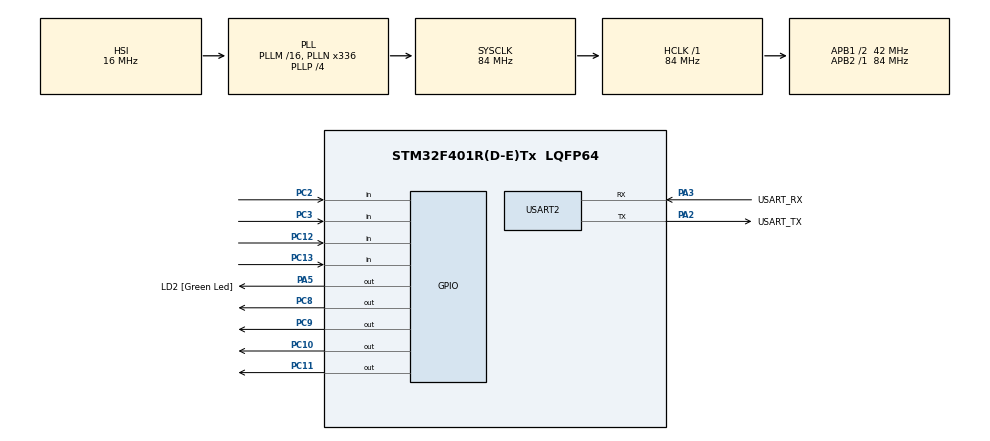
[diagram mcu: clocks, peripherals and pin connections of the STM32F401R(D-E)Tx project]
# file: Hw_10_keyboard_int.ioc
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Mcu.Family=STM32F4
Mcu.Name=STM32F401R(D-E)Tx
Mcu.Package=LQFP64
NVIC.PriorityGroup=NVIC_PRIORITYGROUP_0
NVIC.TIM1_UP_TIM10_IRQn=true\:0\:0\:false\:false\:true\:true\:true\:true
PA13.GPIO_Label=TMS
PA13.Mode=Serial_Wire
PA13.Signal=SYS_JTMS-SWDIO
PA14.GPIO_Label=TCK
PA14.Mode=Serial_Wire
PA14.Signal=SYS_JTCK-SWCLK
PA2.GPIO_Label=USART_TX
PA2.GPIO_Mode=GPIO_MODE_AF_PP
PA2.GPIO_PuPd=GPIO_NOPULL
PA2.GPIO_Speed=GPIO_SPEED_FREQ_LOW
PA2.Mode=Asynchronous
PA2.Signal=USART2_TX
PA3.GPIO_Label=USART_RX
PA3.GPIO_Mode=GPIO_MODE_AF_PP
PA3.GPIO_PuPd=GPIO_NOPULL
PA3.GPIO_Speed=GPIO_SPEED_FREQ_LOW
PA3.Mode=Asynchronous
PA3.Signal=USART2_RX
PA5.GPIO_Label=LD2 [Green Led]
PA5.GPIO_Mode=GPIO_MODE_OUTPUT_PP
PA5.GPIO_PuPd=GPIO_NOPULL
PA5.GPIO_Speed=GPIO_SPEED_FREQ_LOW
PA5.Signal=GPIO_Output
PB3.GPIO_Label=SWO
PB3.Signal=SYS_JTDO-SWO
PC10.Signal=GPIO_Output
PC11.Signal=GPIO_Output
PC12.Signal=GPIO_Input
PC13-ANTI_TAMP.Signal=GPIO_Input
PC14-OSC32_IN.Mode=LSE-External-Oscillator
PC14-OSC32_IN.Signal=RCC_OSC32_IN
PC15-OSC32_OUT.Mode=LSE-External-Oscillator
PC15-OSC32_OUT.Signal=RCC_OSC32_OUT
PC2.Signal=GPIO_Input
PC3.Signal=GPIO_Input
PC8.Signal=GPIO_Output
PC9.Signal=GPIO_Output
PH0\ -\ OSC_IN.Mode=HSE-External-Clock-Source
PH0\ -\ OSC_IN.Signal=RCC_OSC_IN
PH1\ -\ OSC_OUT.Mode=HSE-External-Clock-Source
PH1\ -\ OSC_OUT.Signal=RCC_OSC_OUT
ProjectManager.HeapSize=0x200
ProjectManager.StackSize=0x400
ProjectManager.TargetToolchain=STM32CubeIDE
RCC.48MHZClocksFreq_Value=48000000
RCC.AHBFreq_Value=84000000
RCC.APB1CLKDivider=RCC_HCLK_DIV2
RCC.APB1Freq_Value=42000000
RCC.APB1TimFreq_Value=84000000
RCC.APB2Freq_Value=84000000
RCC.APB2TimFreq_Value=84000000
RCC.CortexFreq_Value=84000000
RCC.HCLKFreq_Value=84000000
RCC.HSE_VALUE=8000000
RCC.HSI_VALUE=16000000
RCC.PLLN=336
RCC.PLLP=RCC_PLLP_DIV4
RCC.PLLQ=7
RCC.SYSCLKFreq_VALUE=84000000
RCC.SYSCLKSource=RCC_SYSCLKSOURCE_PLLCLK
RCC.VCOOutputFreq_Value=336000000
TIM10.Period=2000-1
TIM10.Prescaler=84-1
USART2.VirtualMode=VM_ASYNC
VP_TIM10_VS_ClockSourceINT.Mode=Enable_Timer
board=NUCLEO-F401RE

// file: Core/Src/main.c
/* USER CODE BEGIN Header */
/**
  ******************************************************************************
  * @file           : main.c
  * @brief          : Main program body
  ******************************************************************************
  * @attention
  *
  * Copyright (c) 2023 STMicroelectronics.
  * All rights reserved.
  *
  * This software is licensed under terms that can be found in the LICENSE file
  * in the root directory of this software component.
  * If no LICENSE file comes with this software, it is provided AS-IS.
  *
  ******************************************************************************
  */
/* USER CODE END Header */
#include "main.h"

TIM_HandleTypeDef htim10;

UART_HandleTypeDef huart2;

/* USER CODE BEGIN PV */
char string[64];

uint16_t outPin[] = {GPIO_PIN_3, GPIO_PIN_2, GPIO_PIN_13, GPIO_PIN_12};
uint16_t inPin[] = {GPIO_PIN_11, GPIO_PIN_10, GPIO_PIN_9, GPIO_PIN_8};

char map		[16] = "FB43EA72D961C850";
int pressed		[16] = {0};
int pressedOld	[16] = {0};

int i = 0; // column index
/* USER CODE END PV */

void SystemClock_Config(void);
static void MX_GPIO_Init(void);
static void MX_USART2_UART_Init(void);
static void MX_TIM10_Init(void);

/* USER CODE BEGIN 0 */
void HAL_TIM_PeriodElapsedCallback(TIM_HandleTypeDef *htim) {

	if (htim == &htim10) {

		// disable the column used in the previous scan

		HAL_GPIO_WritePin(GPIOC, inPin[i], GPIO_PIN_RESET);

		// transmit newly pressed keys

		for (int k = 0; k < 16; k++) {

			if (pressed[k] && !pressedOld[k]) {
				snprintf(string, sizeof(string), "%c ", map[k]);
				HAL_UART_Transmit(&huart2, (uint8_t*) string, strlen(string), 200);
			}

		}

		memcpy(pressedOld, pressed, sizeof(int) * 16);

		i++;

		if (i >= 4) i = 0;

		// scan the column

		HAL_GPIO_WritePin(GPIOC, inPin[i], GPIO_PIN_SET);

		for (int j = 0; j < 4; j++) {

			pressed[4 * i + j] = !HAL_GPIO_ReadPin(GPIOC, outPin[j]);

		}

	}

}
/* USER CODE END 0 */

int main(void)
{

  /* MCU Configuration--------------------------------------------------------*/

  /* Reset of all peripherals, Initializes the Flash interface and the Systick. */
  HAL_Init();

  /* Configure the system clock */
  SystemClock_Config();

  /* Initialize all configured peripherals */
  MX_GPIO_Init();
  MX_USART2_UART_Init();
  MX_TIM10_Init();
  /* USER CODE BEGIN 2 */

  HAL_TIM_Base_Start_IT(&htim10);
  /* USER CODE END 2 */

  /* Infinite loop */
  while (1)
  {

  }
}

void SystemClock_Config(void)
{
  RCC_OscInitTypeDef RCC_OscInitStruct = {0};
  RCC_ClkInitTypeDef RCC_ClkInitStruct = {0};

  /** Configure the main internal regulator output voltage
  */
  __HAL_RCC_PWR_CLK_ENABLE();
  __HAL_PWR_VOLTAGESCALING_CONFIG(PWR_REGULATOR_VOLTAGE_SCALE2);

  /** Initializes the RCC Oscillators according to the specified parameters
  * in the RCC_OscInitTypeDef structure.
  */
  RCC_OscInitStruct.OscillatorType = RCC_OSCILLATORTYPE_HSI;
  RCC_OscInitStruct.HSIState = RCC_HSI_ON;
  RCC_OscInitStruct.HSICalibrationValue = RCC_HSICALIBRATION_DEFAULT;
  RCC_OscInitStruct.PLL.PLLState = RCC_PLL_ON;
  RCC_OscInitStruct.PLL.PLLSource = RCC_PLLSOURCE_HSI;
  RCC_OscInitStruct.PLL.PLLM = 16;
  RCC_OscInitStruct.PLL.PLLN = 336;
  RCC_OscInitStruct.PLL.PLLP = RCC_PLLP_DIV4;
  RCC_OscInitStruct.PLL.PLLQ = 7;
  if (HAL_RCC_OscConfig(&RCC_OscInitStruct) != HAL_OK)
  {
    Error_Handler();
  }

  /** Initializes the CPU, AHB and APB buses clocks
  */
  RCC_ClkInitStruct.ClockType = RCC_CLOCKTYPE_HCLK|RCC_CLOCKTYPE_SYSCLK
                              |RCC_CLOCKTYPE_PCLK1|RCC_CLOCKTYPE_PCLK2;
  RCC_ClkInitStruct.SYSCLKSource = RCC_SYSCLKSOURCE_PLLCLK;
  RCC_ClkInitStruct.AHBCLKDivider = RCC_SYSCLK_DIV1;
  RCC_ClkInitStruct.APB1CLKDivider = RCC_HCLK_DIV2;
  RCC_ClkInitStruct.APB2CLKDivider = RCC_HCLK_DIV1;

  if (HAL_RCC_ClockConfig(&RCC_ClkInitStruct, FLASH_LATENCY_2) != HAL_OK)
  {
    Error_Handler();
  }
}

static void MX_TIM10_Init(void)
{

  htim10.Instance = TIM10;
  htim10.Init.Prescaler = 84-1;
  htim10.Init.CounterMode = TIM_COUNTERMODE_UP;
  htim10.Init.Period = 2000-1;
  htim10.Init.ClockDivision = TIM_CLOCKDIVISION_DIV1;
  htim10.Init.AutoReloadPreload = TIM_AUTORELOAD_PRELOAD_DISABLE;
  if (HAL_TIM_Base_Init(&htim10) != HAL_OK)
  {
    Error_Handler();
  }

}

static void MX_USART2_UART_Init(void)
{

  huart2.Instance = USART2;
  huart2.Init.BaudRate = 115200;
  huart2.Init.WordLength = UART_WORDLENGTH_8B;
  huart2.Init.StopBits = UART_STOPBITS_1;
  huart2.Init.Parity = UART_PARITY_NONE;
  huart2.Init.Mode = UART_MODE_TX_RX;
  huart2.Init.HwFlowCtl = UART_HWCONTROL_NONE;
  huart2.Init.OverSampling = UART_OVERSAMPLING_16;
  if (HAL_UART_Init(&huart2) != HAL_OK)
  {
    Error_Handler();
  }

}

static void MX_GPIO_Init(void)
{
  GPIO_InitTypeDef GPIO_InitStruct = {0};

  /* GPIO Ports Clock Enable */
  __HAL_RCC_GPIOC_CLK_ENABLE();
  __HAL_RCC_GPIOH_CLK_ENABLE();
  __HAL_RCC_GPIOA_CLK_ENABLE();
  __HAL_RCC_GPIOB_CLK_ENABLE();

  /*Configure GPIO pin Output Level */
  HAL_GPIO_WritePin(LD2_GPIO_Port, LD2_Pin, GPIO_PIN_RESET);

  /*Configure GPIO pin Output Level */
  HAL_GPIO_WritePin(GPIOC, GPIO_PIN_8|GPIO_PIN_9|GPIO_PIN_10|GPIO_PIN_11, GPIO_PIN_RESET);

  /*Configure GPIO pins : PC13 PC2 PC3 PC12 */
  GPIO_InitStruct.Pin = GPIO_PIN_13|GPIO_PIN_2|GPIO_PIN_3|GPIO_PIN_12;
  GPIO_InitStruct.Mode = GPIO_MODE_INPUT;
  GPIO_InitStruct.Pull = GPIO_NOPULL;
  HAL_GPIO_Init(GPIOC, &GPIO_InitStruct);

  /*Configure GPIO pin : LD2_Pin */
  GPIO_InitStruct.Pin = LD2_Pin;
  GPIO_InitStruct.Mode = GPIO_MODE_OUTPUT_PP;
  GPIO_InitStruct.Pull = GPIO_NOPULL;
  GPIO_InitStruct.Speed = GPIO_SPEED_FREQ_LOW;
  HAL_GPIO_Init(LD2_GPIO_Port, &GPIO_InitStruct);

  /*Configure GPIO pins : PC8 PC9 PC10 PC11 */
  GPIO_InitStruct.Pin = GPIO_PIN_8|GPIO_PIN_9|GPIO_PIN_10|GPIO_PIN_11;
  GPIO_InitStruct.Mode = GPIO_MODE_OUTPUT_PP;
  GPIO_InitStruct.Pull = GPIO_NOPULL;
  GPIO_InitStruct.Speed = GPIO_SPEED_FREQ_LOW;
  HAL_GPIO_Init(GPIOC, &GPIO_InitStruct);

}

void Error_Handler(void)
{
  __disable_irq();
  while (1)
  {
  }
}
